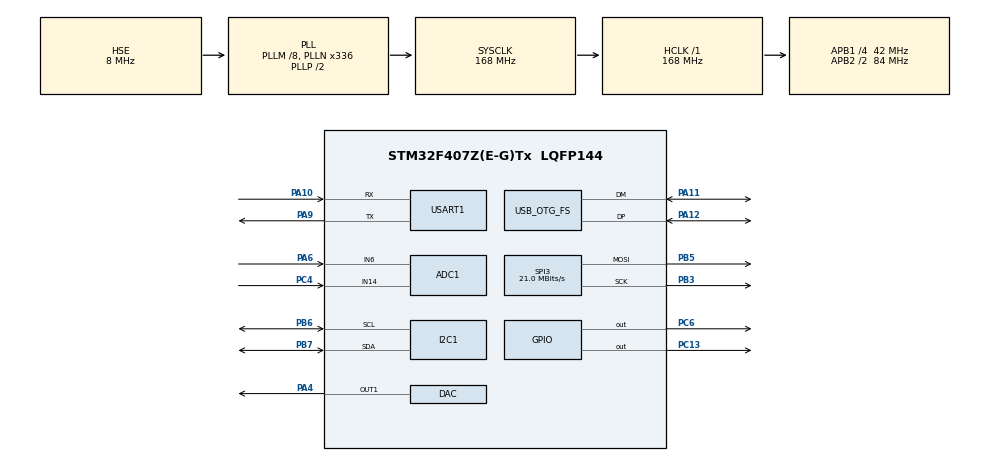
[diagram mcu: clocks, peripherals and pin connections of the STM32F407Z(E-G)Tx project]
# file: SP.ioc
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ADC1.Channel-0\#ChannelRegularConversion=ADC_CHANNEL_14
ADC1.InjNumberOfConversion=0
ADC1.NbrOfConversionFlag=1
ADC1.Rank-0\#ChannelRegularConversion=1
ADC1.SamplingTime-0\#ChannelRegularConversion=ADC_SAMPLETIME_480CYCLES
ADC1.master=1
Mcu.Family=STM32F4
Mcu.Name=STM32F407Z(E-G)Tx
Mcu.Package=LQFP144
NVIC.OTG_FS_IRQn=true\:0\:0\:false\:false\:true\:false\:true\:true
NVIC.PriorityGroup=NVIC_PRIORITYGROUP_4
NVIC.TIM6_DAC_IRQn=true\:0\:0\:false\:false\:true\:true\:true\:true
NVIC.USART1_IRQn=true\:0\:0\:false\:false\:true\:true\:true\:true
PA10.Mode=Asynchronous
PA10.Signal=USART1_RX
PA11.Mode=Device_Only
PA11.Signal=USB_OTG_FS_DM
PA12.Mode=Device_Only
PA12.Signal=USB_OTG_FS_DP
PA13.Mode=Serial_Wire
PA13.Signal=SYS_JTMS-SWDIO
PA14.Mode=Serial_Wire
PA14.Signal=SYS_JTCK-SWCLK
PA4.Signal=COMP_DAC1_group
PA6.Signal=ADCx_IN6
PA9.Mode=Asynchronous
PA9.Signal=USART1_TX
PB3.Mode=TX_Only_Simplex_Unidirect_Master
PB3.Signal=SPI3_SCK
PB5.Mode=TX_Only_Simplex_Unidirect_Master
PB5.Signal=SPI3_MOSI
PB6.Mode=I2C
PB6.Signal=I2C1_SCL
PB7.Mode=I2C
PB7.Signal=I2C1_SDA
PC13-ANTI_TAMP.Signal=GPIO_Output
PC14-OSC32_IN.Mode=LSE-External-Oscillator
PC14-OSC32_IN.Signal=RCC_OSC32_IN
PC15-OSC32_OUT.Mode=LSE-External-Oscillator
PC15-OSC32_OUT.Signal=RCC_OSC32_OUT
PC4.Signal=ADCx_IN14
PC6.PinState=GPIO_PIN_SET
PC6.Signal=GPIO_Output
PH0-OSC_IN.Mode=HSE-External-Oscillator
PH0-OSC_IN.Signal=RCC_OSC_IN
PH1-OSC_OUT.Mode=HSE-External-Oscillator
PH1-OSC_OUT.Signal=RCC_OSC_OUT
ProjectManager.HeapSize=0x200
ProjectManager.StackSize=0x400
ProjectManager.TargetToolchain=STM32CubeIDE
RCC.48MHZClocksFreq_Value=48000000
RCC.AHBFreq_Value=168000000
RCC.APB1CLKDivider=RCC_HCLK_DIV4
RCC.APB1Freq_Value=42000000
RCC.APB1TimFreq_Value=84000000
RCC.APB2CLKDivider=RCC_HCLK_DIV2
RCC.APB2Freq_Value=84000000
RCC.APB2TimFreq_Value=168000000
RCC.CortexFreq_Value=168000000
RCC.HCLKFreq_Value=168000000
RCC.HSE_VALUE=8000000
RCC.HSI_VALUE=16000000
RCC.PLLM=8
RCC.PLLN=336
RCC.PLLQ=7
RCC.SYSCLKFreq_VALUE=168000000
RCC.SYSCLKSource=RCC_SYSCLKSOURCE_PLLCLK
RCC.VCOOutputFreq_Value=336000000
SH.ADCx_IN14.0=ADC1_IN14,IN14
SH.ADCx_IN6.0=ADC1_IN6,IN6
SH.COMP_DAC1_group.0=DAC_OUT1,DAC_OUT1
SPI3.CalculateBaudRate=21.0 MBits/s
SPI3.Direction=SPI_DIRECTION_2LINES
SPI3.Mode=SPI_MODE_MASTER
SPI3.VirtualType=VM_MASTER
TIM6.AutoReloadPreload=TIM_AUTORELOAD_PRELOAD_ENABLE
TIM6.Period=999
TIM6.Prescaler=8399
USART1.VirtualMode=VM_ASYNC
USB_DEVICE.CLASS_NAME_FS=CDC
USB_DEVICE.VirtualMode-CDC_FS=Cdc
USB_DEVICE.VirtualModeFS=Cdc_FS
USB_OTG_FS.VirtualMode=Device_Only
VP_RTC_VS_RTC_Activate.Mode=RTC_Enabled
VP_RTC_VS_RTC_Calendar.Mode=RTC_Calendar
VP_TIM6_VS_ClockSourceINT.Mode=Enable_Timer
VP_USB_DEVICE_VS_USB_DEVICE_CDC_FS.Mode=CDC_FS
board=custom

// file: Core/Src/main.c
/* USER CODE BEGIN Header */
/**
  ******************************************************************************
  * @file           : main.c
  * @brief          : Main program body
  ******************************************************************************
  * @attention
  *
  * Copyright (c) 2026 STMicroelectronics.
  * All rights reserved.
  *
  * This software is licensed under terms that can be found in the LICENSE file
  * in the root directory of this software component.
  * If no LICENSE file comes with this software, it is provided AS-IS.
  *
  ******************************************************************************
  */
/* USER CODE END Header */
#include "main.h"
#include "adc.h"
#include "dac.h"
#include "i2c.h"
#include "rtc.h"
#include "spi.h"
#include "tim.h"
#include "usart.h"
#include "usb_device.h"
#include "gpio.h"

/* USER CODE BEGIN Includes */
#include "bsp_i2c.h"
#include "drv_spl07003.h"
#include "drv_spa07005.h"
#include "drv_spa16001.h"
#include <stdio.h>
#include "sensor_manager.h"
#include "led.h"
#include "key.h"
#include "lcd_spi_154.h"
#include "ui.h"
#include "sensor_protocol.h"
#include "usbd_cdc_if.h"
#include "bsp_timer.h"
#include "bsp_dac_adc.h"
/* USER CODE END Includes */

void SystemClock_Config(void);
/* USER CODE BEGIN PFP */
#ifdef __GNUC__
#define PUTCHAR_PROTOTYPE int __io_putchar(int ch)
#else
#define PUTCHAR_PROTOTYPE int fputc(int ch, FILE *f)
#endif

PUTCHAR_PROTOTYPE {
    (void)ch;
    return ch;
}
/* USER CODE END PFP */

int main(void)
{

  /* MCU Configuration--------------------------------------------------------*/

  /* Reset of all peripherals, Initializes the Flash interface and the Systick. */
  HAL_Init();

  /* Configure the system clock */
  SystemClock_Config();

  /* Initialize all configured peripherals */
  MX_GPIO_Init();
  MX_I2C1_Init();
  MX_RTC_Init();
  MX_SPI3_Init();
  MX_USART1_UART_Init();
  MX_USB_DEVICE_Init();
  MX_TIM6_Init();
  MX_ADC1_Init();
  MX_DAC_Init();
  /* USER CODE BEGIN 2 */
  HAL_GPIO_WritePin(GPIOC, GPIO_PIN_6, GPIO_PIN_SET);
  HAL_DAC_Start(&hdac, DAC_CHANNEL_1);
  BSP_DAC_SetVoltage(1.8f);
  HAL_Delay(200);
  LED_Init();
  KEY_Init();
  SPI_LCD_Init();
  UI_Init();
  Proto_Init(); //1.先初始化

  //2. I2C 检测传感器
  if (Sensor_AutoDetect(&hi2c1) == PRODUCT_UNKNOWN) {
      UI_SetSensorType("NO SENSOR");
      UI_UpdatePressure(-1.0f);
      UI_UpdateTemperature(-999.0f);
      while (1) { HAL_Delay(500); }
  }
  HAL_UART_Transmit(&huart1, (uint8_t*)"HELLO\r\n", 7, 100);
  //3. 初始化传感器
  Sensor_Init();
  UI_SetSensorType(Sensor_GetName());
  BSP_Timer_Init();

  /* USER CODE END 2 */

  /* Infinite loop */
  /* USER CODE BEGIN WHILE */
  while (1)
  {
      // 2. 处理PC下发的指令
      Sensor_ProcessRxData();

	  // 1. 优先处理CDC连接事件
	  if (g_cdc_connected) {
		  g_cdc_connected = false;
		  g_sensor_status.continuous_mode = false;
		  uint8_t type_byte = (uint8_t)Sensor_GetType();
		  Proto_SendFrame(CMD_GET_PRODUCT_TYPE, &type_byte, 1U);
	  }

	  if (!BSP_Timer_ConsumeTick()) {
		  continue;
	  }
	  // 3. 连续模式发数据
	  SensorData_t data;
	  bool dataValid = (Sensor_Read(&data) == HAL_OK);

	  if (g_sensor_status.continuous_mode && dataValid) {

			  uint8_t buf[14] = {0};

			// [0..3] 压力 U32 ×100，小端
			uint32_t press_u32 = (uint32_t)(data.pressure_pa * 100.0f);
			buf[0] = (press_u32)       & 0xFF;
			buf[1] = (press_u32 >>  8) & 0xFF;
			buf[2] = (press_u32 >> 16) & 0xFF;
			buf[3] = (press_u32 >> 24) & 0xFF;

			// [4..5] 温度 S16 ×100，小端
			int16_t temp_s16 = (int16_t)(data.temperature * 100.0f);
			buf[4] = (temp_s16)      & 0xFF;
			buf[5] = (temp_s16 >> 8) & 0xFF;

			// [6..8] 压力RAW，3字节，小端
			buf[6] = (data.press_raw)       & 0xFF;
			buf[7] = (data.press_raw >>  8) & 0xFF;
			buf[8] = (data.press_raw >> 16) & 0xFF;

			// [9] 状态寄存器
//			buf[9] = data.status_reg;
			buf[9] = 0x00;

			// [10..13] 温度RAW，4字节，小端
			buf[10] = (data.temp_raw)       & 0xFF;
			buf[11] = (data.temp_raw >>  8) & 0xFF;
			buf[12] = (data.temp_raw >> 16) & 0xFF;
			buf[13] = (data.temp_raw >> 24) & 0xFF;

			Proto_SendFrame(CMD_READ_PRESS_TEMP, buf, 14U);

	  }

	  // 4. LCD更新
	  if (dataValid) {
		  UI_UpdatePressure(data.pressure_pa);
		  UI_UpdateTemperature(data.temperature);
		  UI_UpdateSampleRate(data.press_rate);
		  UI_UpdateOversampling(data.press_osr);
	  }
	  UI_UpdateVoltage(BSP_ADC_GetSensorVoltage());
	  UI_UpdateCurrent(BSP_ADC_GetSensorCurrent());

	  // 5. RTC更新
	  RTC_TimeTypeDef time;
	  RTC_DateTypeDef date;
	  HAL_RTC_GetTime(&hrtc, &time, RTC_FORMAT_BIN);
	  HAL_RTC_GetDate(&hrtc, &date, RTC_FORMAT_BIN);
	  UI_UpdateTime(time.Hours, time.Minutes, time.Seconds);

    /* USER CODE END WHILE */

  }
}

void SystemClock_Config(void)
{
  RCC_OscInitTypeDef RCC_OscInitStruct = {0};
  RCC_ClkInitTypeDef RCC_ClkInitStruct = {0};

  /** Configure the main internal regulator output voltage
  */
  __HAL_RCC_PWR_CLK_ENABLE();
  __HAL_PWR_VOLTAGESCALING_CONFIG(PWR_REGULATOR_VOLTAGE_SCALE1);

  /** Initializes the RCC Oscillators according to the specified parameters
  * in the RCC_OscInitTypeDef structure.
  */
  RCC_OscInitStruct.OscillatorType = RCC_OSCILLATORTYPE_LSI|RCC_OSCILLATORTYPE_HSE;
  RCC_OscInitStruct.HSEState = RCC_HSE_ON;
  RCC_OscInitStruct.LSIState = RCC_LSI_ON;
  RCC_OscInitStruct.PLL.PLLState = RCC_PLL_ON;
  RCC_OscInitStruct.PLL.PLLSource = RCC_PLLSOURCE_HSE;
  RCC_OscInitStruct.PLL.PLLM = 8;
  RCC_OscInitStruct.PLL.PLLN = 336;
  RCC_OscInitStruct.PLL.PLLP = RCC_PLLP_DIV2;
  RCC_OscInitStruct.PLL.PLLQ = 7;
  if (HAL_RCC_OscConfig(&RCC_OscInitStruct) != HAL_OK)
  {
    Error_Handler();
  }

  /** Initializes the CPU, AHB and APB buses clocks
  */
  RCC_ClkInitStruct.ClockType = RCC_CLOCKTYPE_HCLK|RCC_CLOCKTYPE_SYSCLK
                              |RCC_CLOCKTYPE_PCLK1|RCC_CLOCKTYPE_PCLK2;
  RCC_ClkInitStruct.SYSCLKSource = RCC_SYSCLKSOURCE_PLLCLK;
  RCC_ClkInitStruct.AHBCLKDivider = RCC_SYSCLK_DIV1;
  RCC_ClkInitStruct.APB1CLKDivider = RCC_HCLK_DIV4;
  RCC_ClkInitStruct.APB2CLKDivider = RCC_HCLK_DIV2;

  if (HAL_RCC_ClockConfig(&RCC_ClkInitStruct, FLASH_LATENCY_5) != HAL_OK)
  {
    Error_Handler();
  }
}

void Error_Handler(void)
{
  __disable_irq();
  while (1)
  {
  }
}
